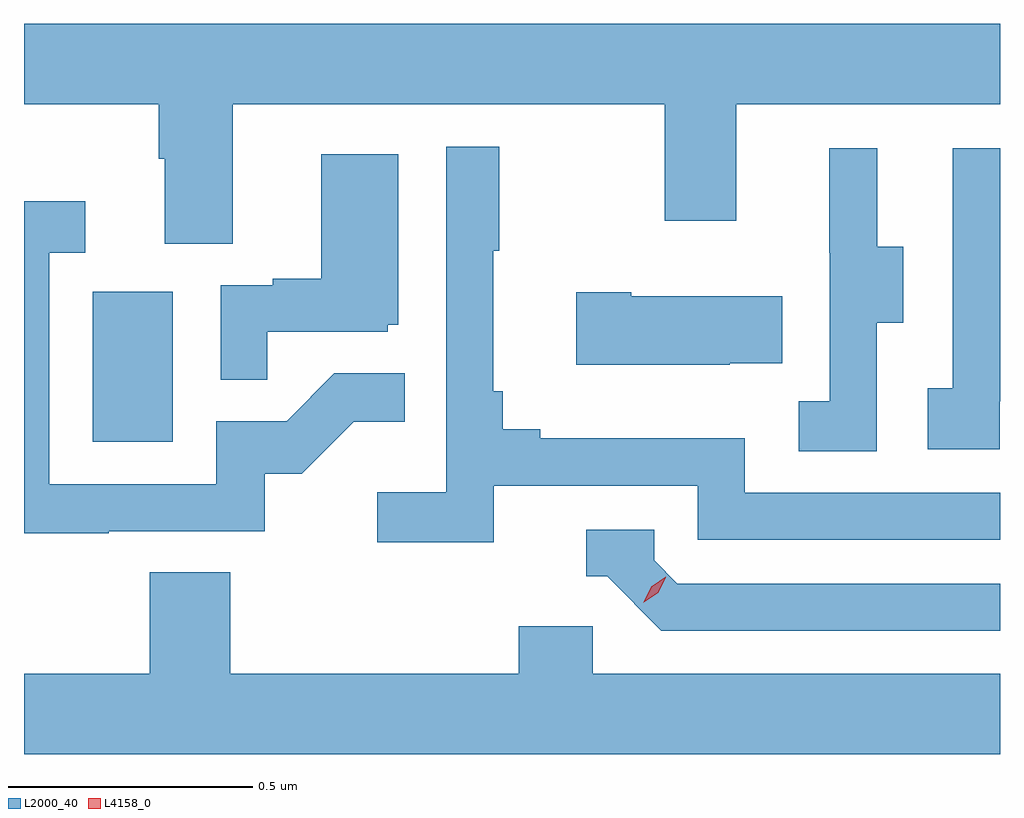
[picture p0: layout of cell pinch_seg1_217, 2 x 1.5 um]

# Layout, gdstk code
import gdstk
lib = gdstk.Library(unit=1e-6, precision=1e-09)
def R(c, l, rs):  # rectangles x0, y0, x1, y1
    for r in rs: c.add(gdstk.rectangle(r[:2], r[2:], *l))
def P(c, l, *ps):  # polygons
    for p in ps: c.add(gdstk.Polygon(p, *l))
L2000_40 = (2000, 40)
L4158_0 = (4158, 0)

pinch_seg1_217 = lib.new_cell('pinch_seg1_217')
R(pinch_seg1_217, L2000_40, [(1009.142,571.02,1009.306,571.327)])
P(pinch_seg1_217, L2000_40, [(1009.429,571.712),(1010.314,571.712),(1010.314,571.473),(1010.461,571.473),(1010.461,571.712),(1011.001,571.712),(1011.001,571.876),(1009.001,571.876),(1009.001,571.712),(1009.277,571.712),(1009.277,571.6),(1009.289,571.6),(1009.289,571.426),(1009.429,571.426)],
  [(1009.964,570.93),(1010.382,570.93),(1010.382,570.819),(1011.001,570.819),(1011.001,570.915),(1010.478,570.915),(1010.478,571.027),(1010.059,571.027),(1010.059,571.046),(1009.982,571.046),(1009.982,571.123),(1009.963,571.123),(1009.963,571.411),(1009.975,571.411),(1009.975,571.624),(1009.866,571.624),(1009.866,570.916),(1009.725,570.916),(1009.725,570.814),(1009.964,570.814)],
  [(1011,571.103),(1011.001,571.103),(1011.001,571.621),(1010.904,571.621),(1010.904,571.13),(1010.853,571.13),(1010.853,571.005),(1011,571.005)],
  [(1010.748,571.264),(1010.803,571.264),(1010.803,571.419),(1010.749,571.419),(1010.749,571.621),(1010.651,571.621),(1010.651,571.407),(1010.652,571.407),(1010.652,571.103),(1010.589,571.103),(1010.589,571),(1010.748,571)],
  [(1009.499,571.245),(1009.746,571.245),(1009.746,571.26),(1009.768,571.26),(1009.768,571.609),(1009.61,571.609),(1009.61,571.354),(1009.511,571.354),(1009.511,571.341),(1009.404,571.341),(1009.404,571.147),(1009.499,571.147)],
  [(1009.175,570.837),(1009.494,570.837),(1009.494,570.954),(1009.57,570.954),(1009.677,571.061),(1009.781,571.061),(1009.781,571.16),(1009.637,571.16),(1009.539,571.062),(1009.395,571.062),(1009.395,570.933),(1009.053,570.933),(1009.053,571.407),(1009.126,571.407),(1009.126,571.513),(1009.001,571.513),(1009.001,570.832),(1009.175,570.832)],
  [(1010.447,571.181),(1010.555,571.181),(1010.555,571.318),(1010.245,571.318),(1010.245,571.326),(1010.133,571.326),(1010.133,571.178),(1010.447,571.178)],
  [(1011.001,570.729),(1010.34,570.729),(1010.292,570.777),(1010.292,570.84),(1010.153,570.84),(1010.153,570.744),(1010.196,570.744),(1010.307,570.633),(1011.001,570.633)],
  [(1011.001,570.544),(1010.166,570.544),(1010.166,570.642),(1010.015,570.642),(1010.015,570.544),(1009.424,570.544),(1009.424,570.752),(1009.259,570.752),(1009.259,570.544),(1009.001,570.544),(1009.001,570.38),(1011.001,570.38)])
P(pinch_seg1_217, L4158_0, [(1010.27,570.69),(1010.27,570.69),(1010.286,570.723),(1010.316,570.743),(1010.316,570.743),(1010.316,570.742),(1010.301,570.71),(1010.27,570.69)])

lib.write_gds('pinch_seg1_217.gds')
